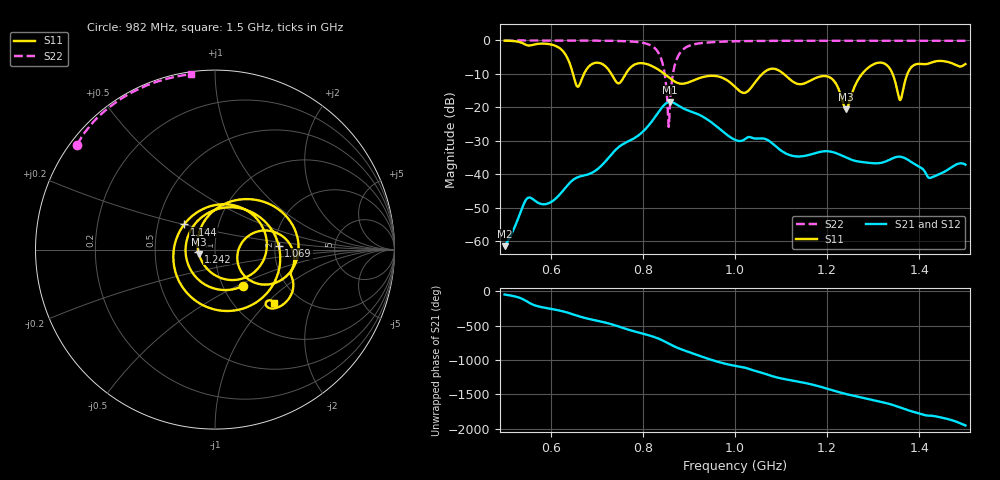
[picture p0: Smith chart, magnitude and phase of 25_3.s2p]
! TOUCHSTONE file generated by CST MICROWAVE STUDIO
! Date and time: Fri Dec 11 14:13:49 2020
! Project name: Scenario_1_Planar_Body_Tissue_Out_of_Line_v2.cst
! Parameters = {dy1=69.2; L_HA=400; Ltissue=700; MT=2.54; Rad_Dielectric=30; Rad_Lower=7.3; Rad_Upper=30; Wtissue=700; a_HA=580; a_WG=246; b_HA=500; b_WG=121; c_HA=0; c_WG=187; d_feed=85; dx1=520; h_feed=15; h_lower=18; h_upper=40; hfat=3; hgap=25; hmuscle=50; hskin=1.5}
! Header version: 2018
! Port assignment regex: !\s*Touchstone port\s*([0-9]+)\s*=\s*(CST MWS port|CST DS port)\s*([0-9]+|Zmin|Zmax)\s*\(\"(.*)\"\)(\s*mode\s*([0-9]+))?.*
! Touchstone port assignment:
! Touchstone port 1 = CST MWS port 1 ("")
! Touchstone port 2 = CST MWS port 2 ("")
# GHz S DB R 50
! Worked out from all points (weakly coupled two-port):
!   1003 points, 500 MHz to 1.5 GHz, reference 50 ohm
!   highest |S21| = -18.40 dB at 859 MHz (marker M1); lowest = -61.6 dB at 500 MHz (marker M2)
!   lowest |S11| = -20.7 dB at 1.241 GHz (marker M3), VSWR 1.20, Z = 41.8 - j2.07 ohm
!   |S11| at or under -10 dB: 846.7 MHz to 1.059 GHz (212.8 MHz wide, 22.3 % of centre); 1.106 GHz to 1.276 GHz (170.3 MHz wide, 14.3 % of centre); 1.342 GHz to 1.374 GHz (32.29 MHz wide, 2.38 % of centre) (the widest 3 of 5)
!   |S22| runs from -25.9 to 0.0 dB; largest |S21 - S12| = 1.1e-05
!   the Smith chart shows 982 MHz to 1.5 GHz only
!   S11 on the Smith chart (normalised r, x): 982 MHz: 1.24, -0.54; 1.069 GHz: 2.10, +0.10; 1.144 GHz: 0.68, +0.20; 1.242 GHz: 0.83, -0.02; 1.5 GHz: 1.50, -1.10
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0.5  -0.08 -122.0  -61.56 -50.2  -61.56 -50.2  -0.01 151.2
0.549  -1.46 -145.8  -47.26 -152.7  -47.26 -152.7  -0.01 147.9
0.63  -3.79 146.4  -44.40 59.7  -44.40 59.7  -0.03 141.7
0.667  -11.76 177.9  -40.58 -16.9  -40.58 -16.9  -0.04 138.4
0.741  -12.17 11.6  -32.74 -140.2  -32.74 -140.2  -0.14 129.0
0.787  -6.96 164.5  -28.76 125.7  -28.76 125.7  -0.46 117.6
0.834  -8.76 45.2  -21.45 29.7  -21.45 29.7  -3.73 81.5
0.859  -11.32 -28.7  -18.40 -52.4  -18.40 -52.4  -18.85 -116.7
0.885  -12.96 -120.0  -20.13 -129.5  -20.13 -129.5  -3.01 179.8
0.93  -10.96 86.2  -22.80 123.9  -22.80 123.9  -0.75 153.5
0.982  -11.84 -52.2  -28.18 20.1  -28.18 20.1  -0.32 142.7
1  -13.89 -106.4  -29.74 -5.1  -29.74 -5.1  -0.25 140.0
1.069  -8.97 3.3  -29.66 -129.9  -29.66 -129.9  -0.14 132.4
1.099  -9.31 -83.8  -32.86 174.1  -32.86 174.1  -0.12 129.7
1.144  -13.08 140.8  -34.68 116.8  -34.68 116.8  -0.10 125.9
1.167  -11.78 78.7  -34.02 83.7  -34.02 83.7  -0.10 124.1
1.241  -20.66 -164.6  -35.02 -54.3  -35.02 -54.3  -0.08 118.4
1.242  -20.60 -173.4  -35.08 -55.9  -35.08 -55.9  -0.08 118.4
1.334  -8.04 -26.6  -35.79 163.6  -35.79 163.6  -0.08 111.4
1.358  -17.85 -12.0  -34.78 111.3  -34.78 111.3  -0.09 109.6
1.39  -7.26 -0.6  -37.01 41.9  -37.01 41.9  -0.10 107.1
1.5  -7.06 -41.9  -37.18 -150.6  -37.18 -150.6  -0.13 97.8
